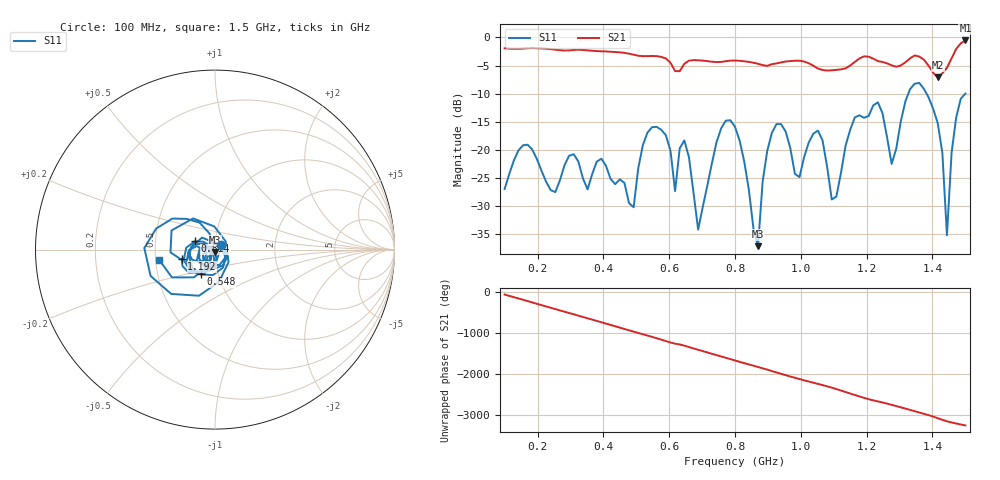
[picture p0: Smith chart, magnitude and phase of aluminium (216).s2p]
! NanoVNA-App
! Date: 2025-09-25 14:56:57
! Start: 100MHz Stop: 1,5GHz Points: 101
! S-Parameter data: F S11 S21 S12 S22
# Hz S RI R 50
!  Frequency  S11_Real  S11_Imag  S21_Real  S21_Imag  S12_Real  S12_Imag  S22_Real  S22_Imag
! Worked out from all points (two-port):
!   101 points, 100 MHz to 1.5 GHz, reference 50 ohm
!   highest |S21| = -0.54 dB at 1.5 GHz (marker M1); lowest = -7.1 dB at 1.416 GHz (marker M2)
!   |S21| within 3 dB of the highest: start of sweep to 579.7 MHz; 1.46 GHz to end of sweep (the widest 2 of 4)
!   lowest |S11| = -37.1 dB at 870 MHz (marker M3), VSWR 1.03, Z = 49.8 - j1.38 ohm
!   |S11| at or under -10 dB: start of sweep to 1.327 GHz; 1.382 GHz to 1.5 GHz (118 MHz wide, 8.19 % of centre)
!   S12 and S22 are empty: the file has one direction only
!   S11 on the Smith chart (normalised r, x): 100 MHz: 1.07, +0.06; 548 MHz: 0.82, -0.23; 814 MHz: 0.80, +0.07; 1.192 GHz: 0.68, -0.07; 1.5 GHz: 0.52, -0.07
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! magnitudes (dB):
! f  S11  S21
! 100 MHz  -27.0  -1.9
! 338 MHz  -25.1  -2.2
! 492 MHz  -30.2  -3.1
! 548 MHz  -16.0  -3.3
! 576 MHz  -16.4  -3.5
! 618 MHz  -27.3  -6.0
! 646 MHz  -18.3  -4.7
! 688 MHz  -34.2  -4.1
! 800 MHz  -15.9  -4.1
! 814 MHz  -18.3  -4.2
! 870 MHz  -37.1  -4.7
! 912 MHz  -17.0  -4.8
! 996 MHz  -24.9  -4.1
! 1.038 GHz  -17.1  -5.0
! 1.094 GHz  -28.8  -5.8
! 1.192 GHz  -14.3  -3.4
! 1.276 GHz  -22.5  -5.0
! 1.346 GHz  -8.2  -3.2
! 1.416 GHz  -15.2  -7.1
! 1.444 GHz  -35.2  -5.4
! 1.458 GHz  -20.5  -3.7
! 1.5 GHz  -10.0  -0.5
